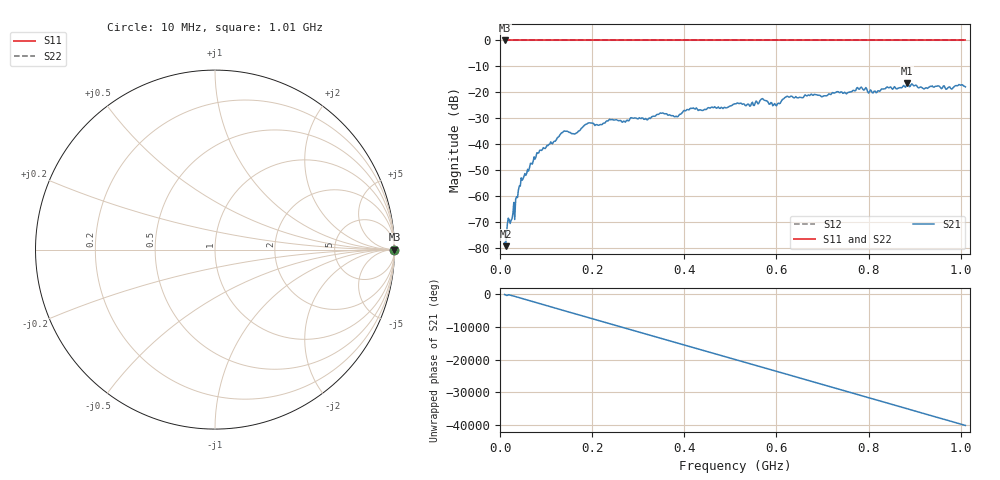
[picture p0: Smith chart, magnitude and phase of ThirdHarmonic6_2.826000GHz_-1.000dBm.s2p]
! 8/17/2025 7:30:36 AM
! C:\ANRITSUVNA\TEMP\TEMP.S2P
! CHANNEL.1
! TR.MEASUREMENT
! RAW.DATA
! RF.CORRECTION.OFF
! AVERAGING.OFF
! IF.BANDWIDTH: 5KHZ
! SWEEPTYPE:  FREQ.SWEEP(Linear)
! Reference Plane Port Info
! PORT:  PORT1  PORT2
! DISTANCE:  0  m  0  m
! TIME:  0  s  0  s
! PHASE.OFFSET:  0  deg.  0  deg.
! LOSS:  0  dB  0  dB
! REF.LOSS:  0  dB  0  dB
! REF.FREQ:  0  Hz  0  Hz
! Power Info
! POWER:  -20  dBm  -20  dBm
! EFF.POWER:  -20  dBm  -20  dBm
! SOURCE.ATTEN:  0  dB  0  dB
! TEST.ATTEN:  0  dB  0  dB
# GHZ S RI R 50.0
! FREQ.GHZ  S11RE  S11IM  S21RE  S21IM  S12RE  S12IM  S22RE  S22IM
!; PortSelection: Port_12
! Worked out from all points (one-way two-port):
!   501 points, 10 MHz to 1.01 GHz, reference 50 ohm
!   highest |S21| = -16.38 dB at 884 MHz (marker M1); lowest = -79.2 dB at 12 MHz (marker M2)
!   lowest |S11| = 0.0 dB at 10 MHz (marker M3)
!   |S11| at or under -10 dB: nowhere
!   |S22| runs from 0.0 to 0.0 dB; largest |S21 - S12| = 1.1
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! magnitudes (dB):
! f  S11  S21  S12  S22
! 10 MHz  0.0  -77.8  0.0  0.0
! 12 MHz  0.0  -79.2  0.0  0.0
! 20 MHz  0.0  -69.0  0.0  0.0
! 28 MHz  0.0  -66.6  0.0  0.0
! 44 MHz  0.0  -56.1  0.0  0.0
! 78 MHz  0.0  -44.9  0.0  0.0
! 136 MHz  0.0  -35.4  0.0  0.0
! 162 MHz  0.0  -36.0  0.0  0.0
! 178 MHz  0.0  -33.6  0.0  0.0
! 194 MHz  0.0  -31.7  0.0  0.0
! 322 MHz  0.0  -30.1  0.0  0.0
! 344 MHz  0.0  -28.5  0.0  0.0
! 382 MHz  0.0  -29.1  0.0  0.0
! 416 MHz  0.0  -26.2  0.0  0.0
! 510 MHz  0.0  -24.4  0.0  0.0
! 570 MHz  0.0  -22.4  0.0  0.0
! 596 MHz  0.0  -24.3  0.0  0.0
! 622 MHz  0.0  -21.6  0.0  0.0
! 678 MHz  0.0  -21.0  0.0  0.0
! 844 MHz  0.0  -18.3  0.0  0.0
! 884 MHz  0.0  -16.4  0.0  0.0
! 1.01 GHz  0.0  -17.9  0.0  0.0
